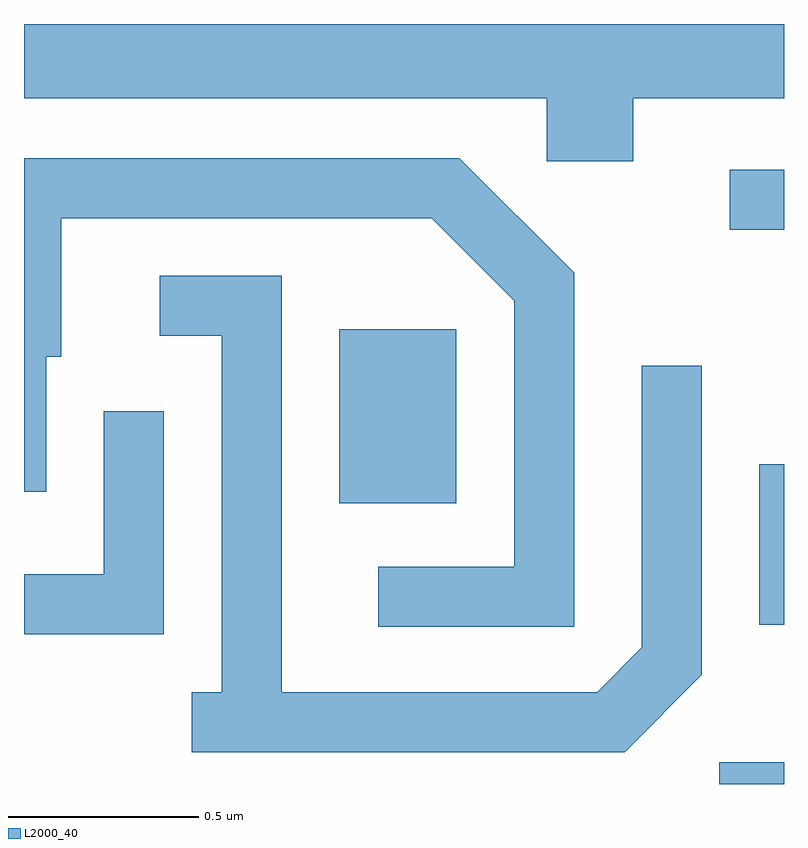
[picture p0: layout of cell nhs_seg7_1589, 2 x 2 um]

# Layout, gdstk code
import gdstk
lib = gdstk.Library(unit=1e-6, precision=1e-09)
def R(c, l, rs):  # rectangles x0, y0, x1, y1
    for r in rs: c.add(gdstk.rectangle(r[:2], r[2:], *l))
def P(c, l, *ps):  # polygons
    for p in ps: c.add(gdstk.Polygon(p, *l))
L2000_40 = (2000, 40)

nhs_seg7_1589 = lib.new_cell('nhs_seg7_1589')
R(nhs_seg7_1589, L2000_40, [(198.441,1750.252,198.611,1750.309), (198.546,1750.671,198.611,1751.094), (197.441,1750.991,197.749,1751.449), (198.468,1751.711,198.611,1751.869)])
P(nhs_seg7_1589, L2000_40, [(198.214,1752.056),(198.611,1752.056),(198.611,1752.252),(196.611,1752.252),(196.611,1752.056),(197.986,1752.056),(197.986,1751.891),(198.214,1751.891)],
  [(198.059,1751.597),(197.757,1751.899),(196.611,1751.899),(196.611,1751.021),(196.669,1751.021),(196.669,1751.376),(196.709,1751.376),(196.709,1751.741),(197.684,1751.741),(197.901,1751.524),(197.901,1750.824),(197.543,1750.824),(197.543,1750.666),(198.059,1750.666)],
  [(198.394,1750.539),(198.394,1751.353),(198.236,1751.353),(198.236,1750.612),(198.119,1750.494),(197.289,1750.494),(197.289,1751.589),(196.968,1751.589),(196.968,1751.431),(197.131,1751.431),(197.131,1750.494),(197.053,1750.494),(197.053,1750.336),(198.192,1750.336)],
  [(196.979,1751.233),(196.821,1751.233),(196.821,1750.804),(196.611,1750.804),(196.611,1750.646),(196.979,1750.646)])

lib.write_gds('nhs_seg7_1589.gds')
